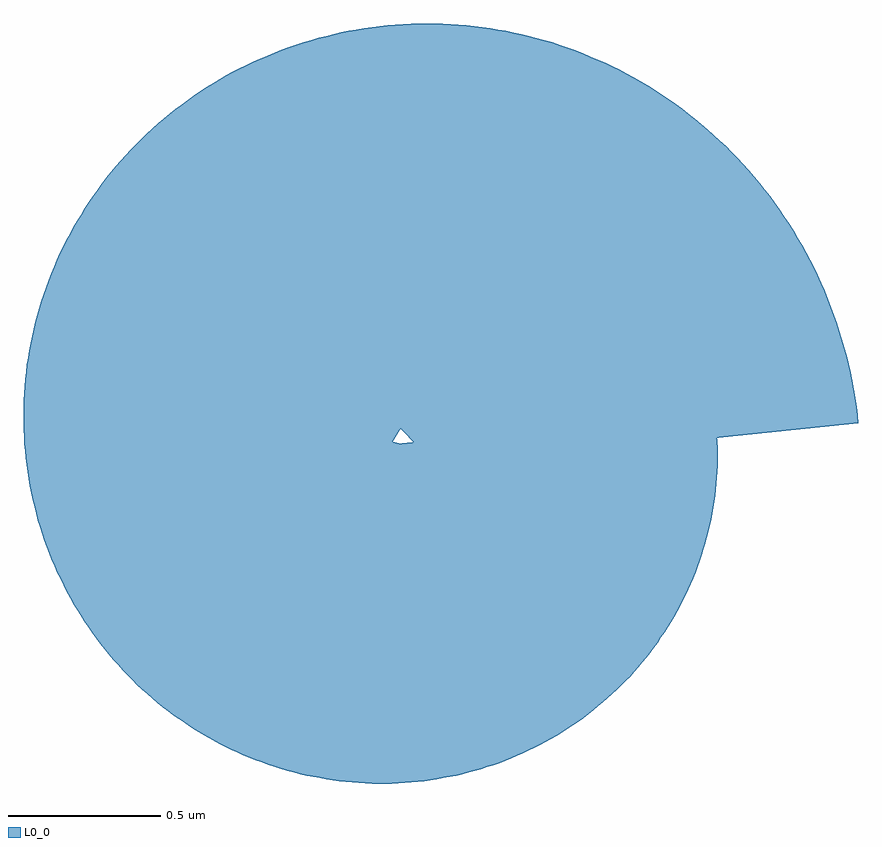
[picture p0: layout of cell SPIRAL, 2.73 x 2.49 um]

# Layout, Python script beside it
import gdspy
import numpy as np

# Create a new GDSII library
lib = gdspy.GdsLibrary()

# Create a new cell
cell = lib.new_cell('SPIRAL')

# Define the line width
line_width = 1.0

# Create a path with the specified line width
path = gdspy.Path(width=line_width, initial_point=(0, 0))

# Define the parametric functions for x(t) and y(t)
def x(t):
    return np.exp(-0.1 * t) * np.cos(t)

def y(t):
    return np.exp(-0.1 * t) * np.sin(t)

# Define the parametric function for the path
def parametric_spiral(u):
    t = u * 6 * np.pi  # u ranges from 0 to 1
    return x(t), y(t)

# Number of points to evaluate
number_of_evaluations = 1000

# Use the parametric function to create the path
path.parametric(
    curve_function=parametric_spiral,
    number_of_evaluations=number_of_evaluations
)

# Add the path to the cell
cell.add(path)

# Save the library in a GDSII file
lib.write_gds('parametric_spiral.gds')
